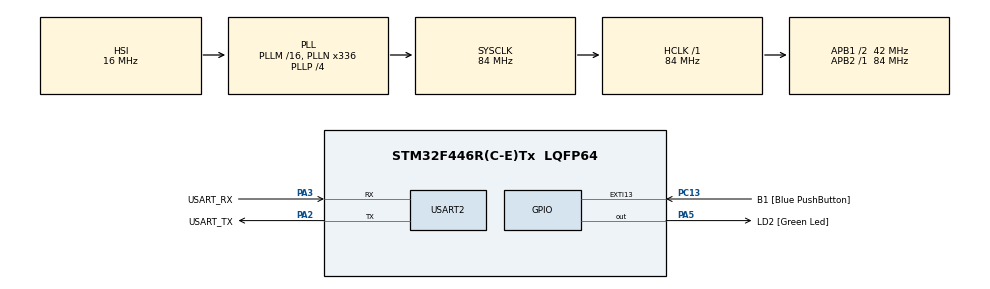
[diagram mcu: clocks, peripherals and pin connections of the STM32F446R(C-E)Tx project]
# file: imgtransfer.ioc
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Mcu.Family=STM32F4
Mcu.Name=STM32F446R(C-E)Tx
Mcu.Package=LQFP64
NVIC.PriorityGroup=NVIC_PRIORITYGROUP_0
PA13.GPIO_Label=TMS
PA13.Mode=Serial_Wire
PA13.Signal=SYS_JTMS-SWDIO
PA14.GPIO_Label=TCK
PA14.Mode=Serial_Wire
PA14.Signal=SYS_JTCK-SWCLK
PA2.GPIO_Label=USART_TX
PA2.Mode=Asynchronous
PA2.Signal=USART2_TX
PA3.GPIO_Label=USART_RX
PA3.Mode=Asynchronous
PA3.Signal=USART2_RX
PA5.GPIO_Label=LD2 [Green Led]
PA5.Signal=GPIO_Output
PB3.GPIO_Label=SWO
PB3.Signal=SYS_JTDO-SWO
PC13.GPIO_Label=B1 [Blue PushButton]
PC13.GPIO_ModeDefaultEXTI=GPIO_MODE_IT_FALLING
PC13.Signal=GPXTI13
PC14-OSC32_IN.Mode=LSE-External-Oscillator
PC14-OSC32_IN.Signal=RCC_OSC32_IN
PC15-OSC32_OUT.Mode=LSE-External-Oscillator
PC15-OSC32_OUT.Signal=RCC_OSC32_OUT
PH0-OSC_IN.Mode=HSE-External-Oscillator
PH0-OSC_IN.Signal=RCC_OSC_IN
PH1-OSC_OUT.Mode=HSE-External-Oscillator
PH1-OSC_OUT.Signal=RCC_OSC_OUT
ProjectManager.HeapSize=0x200
ProjectManager.StackSize=0x400
ProjectManager.TargetToolchain=STM32CubeIDE
RCC.48MHZClocksFreq_Value=84000000
RCC.AHBFreq_Value=84000000
RCC.APB1CLKDivider=RCC_HCLK_DIV2
RCC.APB1Freq_Value=42000000
RCC.APB1TimFreq_Value=84000000
RCC.APB2Freq_Value=84000000
RCC.APB2TimFreq_Value=84000000
RCC.CortexFreq_Value=84000000
RCC.FLatency-AdvancedSettings=FLASH_LATENCY_2
RCC.HCLKFreq_Value=84000000
RCC.HSE_VALUE=8000000
RCC.HSI_VALUE=16000000
RCC.PLLN=336
RCC.PLLP=RCC_PLLP_DIV4
RCC.SYSCLKFreq_VALUE=84000000
RCC.SYSCLKSource=RCC_SYSCLKSOURCE_PLLCLK
RCC.USBFreq_Value=168000000
RCC.VCOOutputFreq_Value=336000000
USART2.VirtualMode=VM_ASYNC
board=NUCLEO-F446RE

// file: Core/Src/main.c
/* USER CODE BEGIN Header */
/**
  ******************************************************************************
  * @file           : main.c
  * @brief          : Main program body
  ******************************************************************************
  * @attention
  *
  * Copyright (c) 2025 STMicroelectronics.
  * All rights reserved.
  *
  * This software is licensed under terms that can be found in the LICENSE file
  * in the root directory of this software component.
  * If no LICENSE file comes with this software, it is provided AS-IS.
  *
  ******************************************************************************
  */
/* USER CODE END Header */
#include "main.h"

/* USER CODE BEGIN Includes */
#include "mouse_image.h"
#include <stddef.h>
#include <stdint.h>
#include <stdio.h>
/* USER CODE END Includes */

/* USER CODE BEGIN PD */
// mouse_image.h'den gelen tanımları kullan
#define IMG_W MOUSE_IMG_WIDTH
#define IMG_H MOUSE_IMG_HEIGHT
#define IMG mouse_image
#define IMG_PIXELS (IMG_W * IMG_H)

// Belleği rahat görüp debug etmek için sadece ilk OUT_N pikseli RAM'de saklıyoruz
#define OUT_N   1024
#define OFFSET  0
/* USER CODE END PD */

UART_HandleTypeDef huart2;

/* USER CODE BEGIN PV */
// Orijinal görüntüden ilk 20 piksel (kontrol için)
volatile uint8_t first_pixels[20];

// Q1/Q2: Histogramlar
volatile uint32_t hist_original[256];
volatile uint32_t hist_equalized[256];

// Q2: Eşitlenmiş görüntünün ilk OUT_N pikseli
volatile uint8_t img_eq[OUT_N];

// Q3: Low-pass ve high-pass filtre sonuçlarının ilk OUT_N pikseli
volatile uint8_t img_lp[OUT_N];
volatile uint8_t img_hp[OUT_N];

// Q4: Median filtre sonucunun ilk OUT_N pikseli
volatile uint8_t img_med[OUT_N];
/* USER CODE END PV */

void SystemClock_Config(void);
static void MX_GPIO_Init(void);
static void MX_USART2_UART_Init(void);

/* USER CODE BEGIN 0 */

static inline uint8_t clamp_u8(int x) {
  if (x < 0)   return 0;
  if (x > 255) return 255;
  return (uint8_t)x;
}

static void uart_print_first_pixels(void) {
  char msg[32];
  for (int i = 0; i < 20; ++i) {
    int len = snprintf(msg, sizeof(msg), "IMG[%d]=%u\r\n", i, first_pixels[i]);
    if (len > 0) {
      HAL_UART_Transmit(&huart2, (uint8_t*)msg, (uint16_t)len, HAL_MAX_DELAY);
    }
  }
}

// Q1: Histogram hesaplama
static void compute_histogram(const uint8_t* img, int w, int h, uint32_t hist[256]) {
  for (int i = 0; i < 256; ++i) hist[i] = 0;

  for (int y = 0; y < h; ++y) {
    for (int x = 0; x < w; ++x) {
      uint8_t p = img[y * w + x];
      hist[p]++;
    }
  }
}

// Histogramdan LUT oluştur
static void build_equalization_lut(const uint32_t hist[256], int total,
                                   uint8_t lut[256]) {
  uint32_t cumulative = 0;
  uint32_t cdf_min = 0;
  uint32_t total_u = (uint32_t)total;

  for (int i = 0; i < 256; ++i) {
    cumulative += hist[i];
    if (cdf_min == 0 && cumulative != 0) {
      cdf_min = cumulative;
    }

    uint32_t v = 0;
    uint32_t denom = total_u - cdf_min;
    if (denom != 0U) {
      v = (cumulative - cdf_min) * 255u / denom;
    }
    if (v > 255u) v = 255u;
    lut[i] = (uint8_t)v;
  }
}

// Tüm işlemleri tek fonksiyonda çalıştır
static inline void store_window_value(size_t linear_idx, size_t offset,
                                      size_t safeN, volatile uint8_t* buffer,
                                      uint8_t value) {
  if (linear_idx < offset) {
    return;
  }
  size_t pos = linear_idx - offset;
  if (pos < safeN) {
    buffer[pos] = value;
  }
}

static void run_image_ops(void) {
  // OFFSET + OUT_N, toplam piksel sayısını aşmasın
  size_t safeN = OUT_N;
  if ((size_t)OFFSET + (size_t)OUT_N > (size_t)IMG_PIXELS) {
    safeN = (size_t)IMG_PIXELS - (size_t)OFFSET;
  }

  // Orijinal görüntünün ilk 20 pikselini kopyala (Memory Window için)
  for (int i = 0; i < 20; ++i) {
    first_pixels[i] = IMG[i];
  }
  uart_print_first_pixels();

  // --- Q1: Orijinal histogram ---
  compute_histogram(IMG, IMG_W, IMG_H, (uint32_t*)hist_original);

  // --- Q2..Q4 işlemleri için hazırlık ---
  uint8_t lut[256];
  build_equalization_lut((uint32_t*)hist_original, IMG_PIXELS, lut);

  uint32_t hist_eq_local[256];
  for (int i = 0; i < 256; ++i) {
    hist_eq_local[i] = 0;
    hist_equalized[i] = 0;
  }

  for (size_t i = 0; i < safeN; ++i) {
    img_eq[i] = 0;
    img_lp[i] = 0;
    img_hp[i] = 0;
    img_med[i] = 0;
  }

  uint8_t row_buf[3][IMG_W];
  size_t linear_idx = 0;

  for (int y = 0; y < IMG_H; ++y) {
    uint8_t* row = row_buf[y % 3];
    for (int x = 0; x < IMG_W; ++x) {
      uint8_t eq_val = lut[IMG[y * IMG_W + x]];
      row[x] = eq_val;
      hist_eq_local[eq_val]++;
      store_window_value(linear_idx, OFFSET, safeN, img_eq, eq_val);
      linear_idx++;
    }

    if (y >= 2) {
      uint8_t* row_top = row_buf[(y - 2) % 3];
      uint8_t* row_mid = row_buf[(y - 1) % 3];
      uint8_t* row_bot = row_buf[y % 3];
      size_t row_base = (size_t)(y - 1) * IMG_W;

      for (int x = 1; x < IMG_W - 1; ++x) {
        int sum_lp =
            row_top[x - 1] + row_top[x] + row_top[x + 1] +
            row_mid[x - 1] + row_mid[x] + row_mid[x + 1] +
            row_bot[x - 1] + row_bot[x] + row_bot[x + 1];
        uint8_t lp_val = (uint8_t)(sum_lp / 9);

        int hp_sum = 0;
        hp_sum += -row_mid[x - 1];
        hp_sum += -row_mid[x + 1];
        hp_sum += -row_top[x];
        hp_sum += -row_bot[x];
        hp_sum += row_mid[x] * 4;
        uint8_t hp_val = clamp_u8(hp_sum);

        uint8_t window[9] = {
            row_top[x - 1], row_top[x], row_top[x + 1],
            row_mid[x - 1], row_mid[x], row_mid[x + 1],
            row_bot[x - 1], row_bot[x], row_bot[x + 1],
        };
        for (int i = 0; i < 9; ++i) {
          for (int j = i + 1; j < 9; ++j) {
            if (window[j] < window[i]) {
              uint8_t tmp = window[i];
              window[i] = window[j];
              window[j] = tmp;
            }
          }
        }
        uint8_t med_val = window[4];

        size_t idx = row_base + (size_t)x;
        store_window_value(idx, OFFSET, safeN, img_lp, lp_val);
        store_window_value(idx, OFFSET, safeN, img_hp, hp_val);
        store_window_value(idx, OFFSET, safeN, img_med, med_val);
      }
    }
  }

  for (int i = 0; i < 256; ++i) {
    hist_equalized[i] = hist_eq_local[i];
  }

  // Burada UART ile değerleri de yazdırmak istersen, HAL_UART_Transmit ile
  // histograma ait birkaç örnek gönderebilirsin.
}

/* USER CODE END 0 */

int main(void)
{
  /* MCU Configuration--------------------------------------------------------*/

  /* Reset of all peripherals, Initializes the Flash interface and the Systick. */
  HAL_Init();

  /* Configure the system clock */
  SystemClock_Config();

  /* Initialize all configured peripherals */
  MX_GPIO_Init();
  MX_USART2_UART_Init();
  /* USER CODE BEGIN 2 */
  // Ödevde istenen tüm görüntü işlemleri burada hesaplanıyor
  run_image_ops();
  /* USER CODE END 2 */

  /* Infinite loop */
  while (1)
  {

    /* USER CODE BEGIN 3 */
    // Breakpoint koyup first_pixels, hist_*, img_eq, img_lp, img_hp, img_med
    // buffer'larını Memory Window'dan inceleyebilirsin.
    HAL_Delay(1000);
  }
  /* USER CODE END 3 */
}

void SystemClock_Config(void)
{
  RCC_OscInitTypeDef RCC_OscInitStruct = {0};
  RCC_ClkInitTypeDef RCC_ClkInitStruct = {0};

  /** Configure the main internal regulator output voltage */
  __HAL_RCC_PWR_CLK_ENABLE();
  __HAL_PWR_VOLTAGESCALING_CONFIG(PWR_REGULATOR_VOLTAGE_SCALE3);

  /** Initializes the RCC Oscillators according to the specified parameters
  * in the RCC_OscInitTypeDef structure.
  */
  RCC_OscInitStruct.OscillatorType = RCC_OSCILLATORTYPE_HSI;
  RCC_OscInitStruct.HSIState = RCC_HSI_ON;
  RCC_OscInitStruct.HSICalibrationValue = RCC_HSICALIBRATION_DEFAULT;
  RCC_OscInitStruct.PLL.PLLState = RCC_PLL_ON;
  RCC_OscInitStruct.PLL.PLLSource = RCC_PLLSOURCE_HSI;
  RCC_OscInitStruct.PLL.PLLM = 16;
  RCC_OscInitStruct.PLL.PLLN = 336;
  RCC_OscInitStruct.PLL.PLLP = RCC_PLLP_DIV4;
  RCC_OscInitStruct.PLL.PLLQ = 2;
  RCC_OscInitStruct.PLL.PLLR = 2;
  if (HAL_RCC_OscConfig(&RCC_OscInitStruct) != HAL_OK)
  {
    Error_Handler();
  }

  /** Initializes the CPU, AHB and APB buses clocks
  */
  RCC_ClkInitStruct.ClockType = RCC_CLOCKTYPE_HCLK|RCC_CLOCKTYPE_SYSCLK
                              |RCC_CLOCKTYPE_PCLK1|RCC_CLOCKTYPE_PCLK2;
  RCC_ClkInitStruct.SYSCLKSource = RCC_SYSCLKSOURCE_PLLCLK;
  RCC_ClkInitStruct.AHBCLKDivider = RCC_SYSCLK_DIV1;
  RCC_ClkInitStruct.APB1CLKDivider = RCC_HCLK_DIV2;
  RCC_ClkInitStruct.APB2CLKDivider = RCC_HCLK_DIV1;

  if (HAL_RCC_ClockConfig(&RCC_ClkInitStruct, FLASH_LATENCY_2) != HAL_OK)
  {
    Error_Handler();
  }
}

static void MX_USART2_UART_Init(void)
{

  huart2.Instance = USART2;
  huart2.Init.BaudRate = 115200;
  huart2.Init.WordLength = UART_WORDLENGTH_8B;
  huart2.Init.StopBits = UART_STOPBITS_1;
  huart2.Init.Parity = UART_PARITY_NONE;
  huart2.Init.Mode = UART_MODE_TX_RX;
  huart2.Init.HwFlowCtl = UART_HWCONTROL_NONE;
  huart2.Init.OverSampling = UART_OVERSAMPLING_16;
  if (HAL_UART_Init(&huart2) != HAL_OK)
  {
    Error_Handler();
  }
}

static void MX_GPIO_Init(void)
{
  GPIO_InitTypeDef GPIO_InitStruct = {0};

  /* GPIO Ports Clock Enable */
  __HAL_RCC_GPIOC_CLK_ENABLE();
  __HAL_RCC_GPIOH_CLK_ENABLE();
  __HAL_RCC_GPIOA_CLK_ENABLE();
  __HAL_RCC_GPIOB_CLK_ENABLE();

  /*Configure GPIO pin Output Level */
  HAL_GPIO_WritePin(LD2_GPIO_Port, LD2_Pin, GPIO_PIN_RESET);

  /*Configure GPIO pin : B1_Pin */
  GPIO_InitStruct.Pin = B1_Pin;
  GPIO_InitStruct.Mode = GPIO_MODE_IT_FALLING;
  GPIO_InitStruct.Pull = GPIO_NOPULL;
  HAL_GPIO_Init(B1_GPIO_Port, &GPIO_InitStruct);

  /*Configure GPIO pin : LD2_Pin */
  GPIO_InitStruct.Pin = LD2_Pin;
  GPIO_InitStruct.Mode = GPIO_MODE_OUTPUT_PP;
  GPIO_InitStruct.Pull = GPIO_NOPULL;
  GPIO_InitStruct.Speed = GPIO_SPEED_FREQ_LOW;
  HAL_GPIO_Init(LD2_GPIO_Port, &GPIO_InitStruct);
}

void Error_Handler(void)
{
  __disable_irq();
  while (1)
  {
  }
}

#ifdef  USE_FULL_ASSERT
/**
  * @brief  Reports the name of the source file and the source line number
  *         where the assert_param error has occurred.
  * @param  file: pointer to the source file name
  * @param  line: assert_param error line source number
  * @retval None
  */
void assert_failed(uint8_t *file, uint32_t line)
{
  /* USER CODE BEGIN 6 */
  /* User can add his own implementation to report the file name and line number,
     ex: printf("Wrong parameters value: file %s on line %d\r\n", file, line); */
  (void)file;
  (void)line;
  /* USER CODE END 6 */
}
#endif /* USE_FULL_ASSERT */
